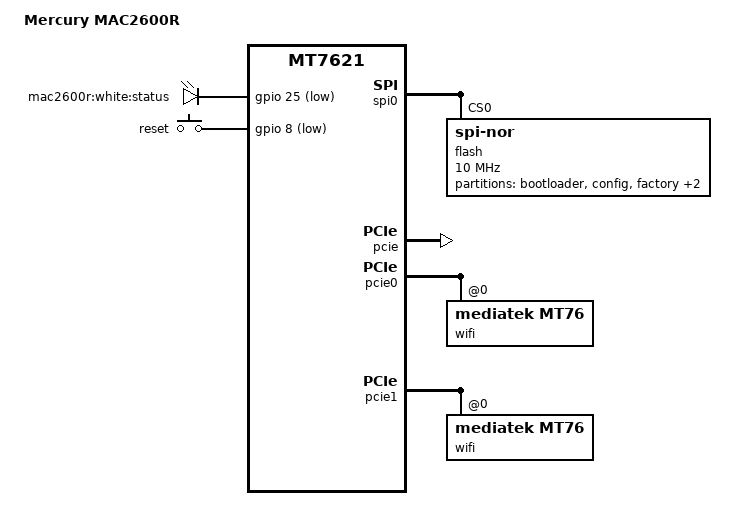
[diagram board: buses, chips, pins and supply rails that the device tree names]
// SPDX-License-Identifier: GPL-2.0-or-later OR MIT

#include "mt7621.dtsi"

#include <dt-bindings/gpio/gpio.h>
#include <dt-bindings/input/input.h>

/ {
	compatible = "mercury,mac2600r", "mediatek,mt7621-soc";
	model = "Mercury MAC2600R";

	aliases {
		label-mac-device = &gmac0;
		led-boot = &led_status;
		led-failsafe = &led_status;
		led-running = &led_status;
		led-upgrade = &led_status;
	};

	 chosen {
		 bootargs = "console=ttyS0,57600";
	 };

	 leds {
		 compatible = "gpio-leds";

		 led_status: status {
			 label = "mac2600r:white:status";
			 gpios = <&gpio 25 GPIO_ACTIVE_LOW>;
		 };

	 };

	 keys {
		 compatible = "gpio-keys";

		 reset {
			 label = "reset";
			 gpios = <&gpio 8 GPIO_ACTIVE_LOW>;
			 linux,code = <KEY_RESTART>;
		 };
	 };

};

&spi0 {
		status = "okay";

		flash@0 {
		compatible = "jedec,spi-nor";
		reg = <0>;
		spi-max-frequency = <10000000>;

		partitions {
			compatible = "fixed-partitions";
			#address-cells = <1>;
			#size-cells = <1>;

			partition@0 {
					label = "bootloader";
					reg = <0x0 0x30000>;
					read-only;
			};

			partition@30000 {
					label = "config";
					reg = <0x30000 0x10000>;
					read-only;
			};

			partition@40000 {
				label = "factory";
				reg = <0x40000 0x10000>;
				read-only;
				nvmem-layout {
					compatible = "fixed-layout";
					#address-cells = <1>;
					#size-cells = <1>;

					eeprom_factory_0: eeprom@0 {
						reg = <0x0 0x4da8>;
					};

					eeprom_factory_8000: eeprom@8000 {
						reg = <0x8000 0x4da8>;
					};

					macaddr_factory_e000: macaddr@e000 {
						reg = <0xe000 0x6>;
					};

					macaddr_factory_e006: macaddr@e006 {
						reg = <0xe006 0x6>;
					};
				};
			};
			partition@50000 {
				compatible = "denx,uimage";
				label = "firmware";
				reg = <0x50000 0x7b0000>;
			};

			partition@all {
				label = "ALL";
				reg = <0x0 0x800000>;
			};
		};
	};
};

&gmac0 {
	nvmem-cells = <&macaddr_factory_e000>;
	nvmem-cell-names = "mac-address";
};

&switch0 {
	 ports {
		port@0 {
			status = "okay";
			label = "wan";
			nvmem-cells = <&macaddr_factory_e006>;
			nvmem-cell-names = "mac-address";
		};
		port@1 {
			status = "okay";
			label = "lan1";
		};
		port@2 {
			status = "okay";
			label = "lan2";
		};
		port@3 {
			status = "okay";
			label = "lan3";
		};
		port@4 {
			status = "okay";
			label = "lan4";
		};
	 };
};

&state_default {
	gpio {
		 groups = "jtag", "uart2", "uart3", "wdt";
		 function = "gpio";
	};
};

&pcie {
	 status = "okay";
};

&pcie0 {
	wifi@0,0 {
		compatible = "mediatek,mt76";
		reg = <0x0000 0 0 0 0>;
		nvmem-cells = <&eeprom_factory_0>;
		nvmem-cell-names = "eeprom";
		ieee80211-freq-limit = <2400000 2500000>;
	};
};

&pcie1 {
	wifi@0,0 {
		compatible = "mediatek,mt76";
		reg = <0x0000 0 0 0 0>;
		nvmem-cells = <&eeprom_factory_8000>;
		nvmem-cell-names = "eeprom";
		ieee80211-freq-limit = <5000000 6000000>;
	};
};

